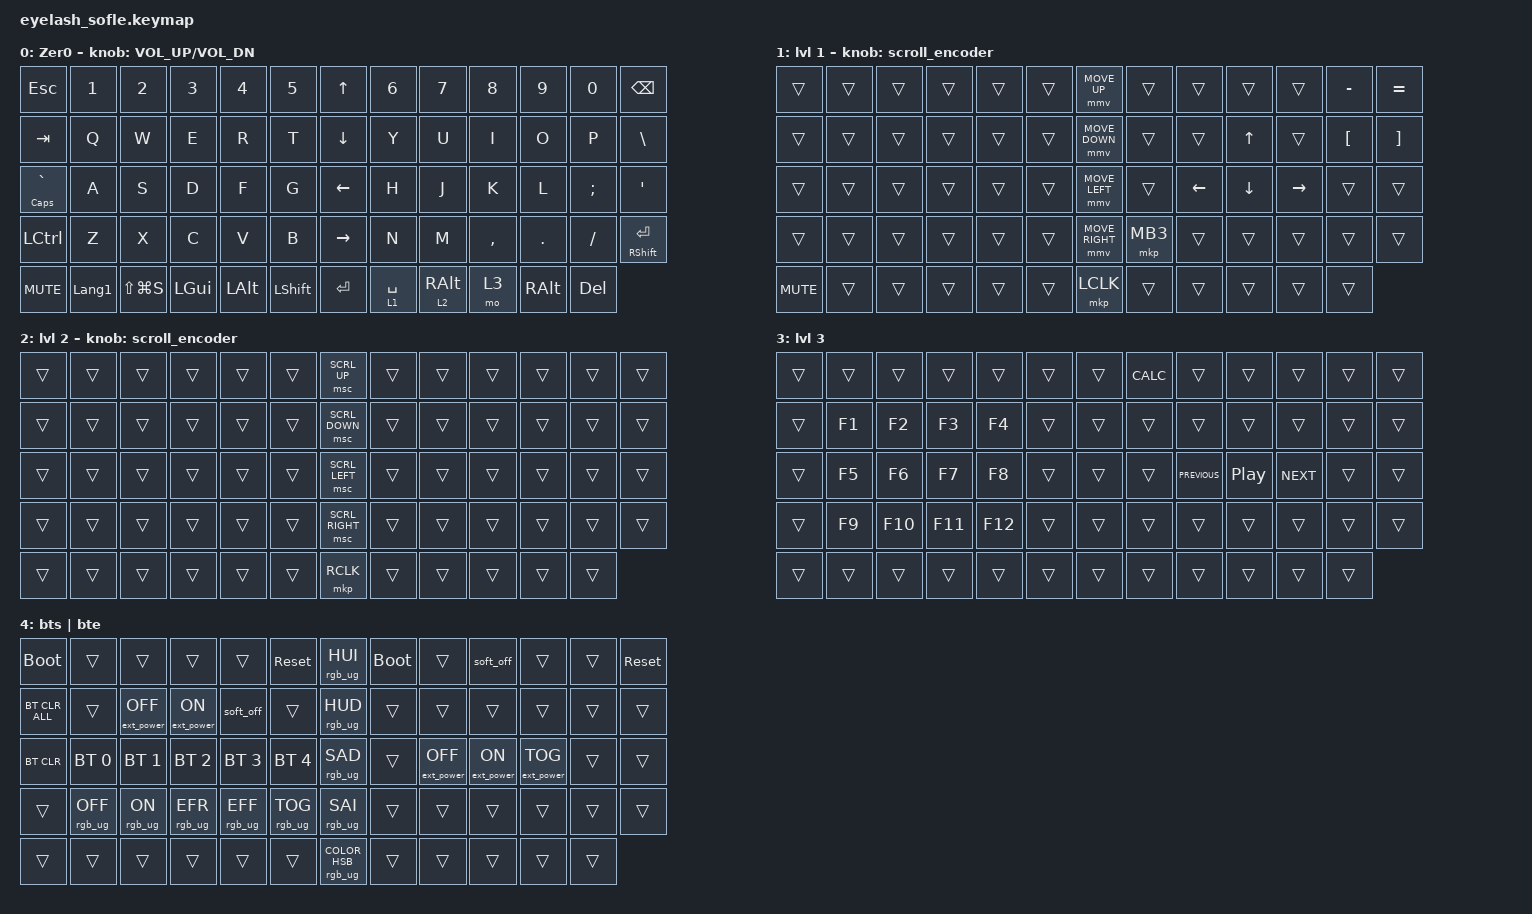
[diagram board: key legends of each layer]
#define ZMK_POINTING_DEFAULT_MOVE_VAL 1200  // 600
#define ZMK_POINTING_DEFAULT_SCRL_VAL 25   // 10

#include <input/processors.dtsi>
#include <zephyr/dt-bindings/input/input-event-codes.h>
#include <behaviors.dtsi>
#include <dt-bindings/zmk/bt.h>
#include <dt-bindings/zmk/ext_power.h>
#include <dt-bindings/zmk/keys.h>
#include <dt-bindings/zmk/pointing.h>
#include <dt-bindings/zmk/rgb.h>

&mmv_input_listener { input-processors = <&zip_xy_scaler 2 1>; };

&msc_input_listener { input-processors = <&zip_scroll_scaler 2 1>; };

&msc {
    acceleration-exponent = <1>;      // 0
    time-to-max-speed-ms = <100>;       // 300
    delay-ms = <0>;                   // 0
};

&mmv {
    time-to-max-speed-ms = <500>;
    acceleration-exponent = <1>;
    trigger-period-ms = <16>;
};

/ {
    scroll_encoder: scroll_encoder {
        compatible = "zmk,behavior-sensor-rotate";
        #sensor-binding-cells = <0>;
        bindings = <&msc SCRL_DOWN>, <&msc SCRL_UP>;

        tap-ms = <100>;
    };

    behaviors {
    };

    combos {
        compatible = "zmk,combos";

        Layer_4_toggle {
            bindings = <&tog 4>;
            key-positions = <53 63>;
        };
    };

    keymap {
        compatible = "zmk,keymap";

        layer0 {
            bindings = <
&kp ESC           &kp N1          &kp N2         &kp N3        &kp N4        &kp N5            &kp UP_ARROW     &kp N6       &kp N7           &kp N8     &kp N9         &kp N0      &kp BACKSPACE
&kp TAB           &kp Q           &kp W          &kp E         &kp R         &kp T             &kp DOWN_ARROW   &kp Y        &kp U            &kp I      &kp O          &kp P       &kp BSLH
&mt CAPS GRAVE    &kp A           &kp S          &kp D         &kp F         &kp G             &kp LEFT_ARROW   &kp H        &kp J            &kp K      &kp L          &kp SEMI    &kp APOS
&kp LEFT_CONTROL  &kp Z           &kp X          &kp C         &kp V         &kp B             &kp RIGHT_ARROW  &kp N        &kp M            &kp COMMA  &kp DOT        &kp FSLH    &mt RIGHT_SHIFT ENTER
&kp C_MUTE        &kp LANGUAGE_1  &kp LS(LG(S))  &kp LEFT_GUI  &kp LEFT_ALT  &kp LEFT_SHIFT    &kp ENTER        &lt 1 SPACE  &lt 2 RIGHT_ALT  &mo 3      &kp RIGHT_ALT  &kp DELETE
            >;

            sensor-bindings = <&inc_dec_kp C_VOLUME_UP C_VOL_DN>;
            display-name = "Zer0";
        };

        layer_1 {
            bindings = <
&trans      &trans  &trans  &trans  &trans  &trans    &mmv MOVE_UP     &trans    &trans    &trans    &trans     &kp MINUS         &kp EQUAL
&trans      &trans  &trans  &trans  &trans  &trans    &mmv MOVE_DOWN   &trans    &trans    &kp UP    &trans     &kp LEFT_BRACKET  &kp RIGHT_BRACKET
&trans      &trans  &trans  &trans  &trans  &trans    &mmv MOVE_LEFT   &trans    &kp LEFT  &kp DOWN  &kp RIGHT  &trans            &trans
&trans      &trans  &trans  &trans  &trans  &trans    &mmv MOVE_RIGHT  &mkp MB3  &trans    &trans    &trans     &trans            &trans
&kp C_MUTE  &trans  &trans  &trans  &trans  &trans    &mkp LCLK        &trans    &trans    &trans    &trans     &trans
            >;

            display-name = "lvl 1";
            sensor-bindings = <&scroll_encoder>;
        };

        layer_2 {
            bindings = <
&trans  &trans  &trans  &trans  &trans  &trans    &msc SCRL_UP     &trans  &trans  &trans  &trans  &trans  &trans
&trans  &trans  &trans  &trans  &trans  &trans    &msc SCRL_DOWN   &trans  &trans  &trans  &trans  &trans  &trans
&trans  &trans  &trans  &trans  &trans  &trans    &msc SCRL_LEFT   &trans  &trans  &trans  &trans  &trans  &trans
&trans  &trans  &trans  &trans  &trans  &trans    &msc SCRL_RIGHT  &trans  &trans  &trans  &trans  &trans  &trans
&trans  &trans  &trans  &trans  &trans  &trans    &mkp RCLK        &trans  &trans  &trans  &trans  &trans
            >;

            sensor-bindings = <&scroll_encoder>;
            label = "lvl 2";
        };

        layer_3 {
            bindings = <
&trans  &trans  &trans   &trans   &trans   &trans    &trans  &kp K_CALC  &trans          &trans            &trans      &trans  &trans
&trans  &kp F1  &kp F2   &kp F3   &kp F4   &trans    &trans  &trans      &trans          &trans            &trans      &trans  &trans
&trans  &kp F5  &kp F6   &kp F7   &kp F8   &trans    &trans  &trans      &kp C_PREVIOUS  &kp C_PLAY_PAUSE  &kp C_NEXT  &trans  &trans
&trans  &kp F9  &kp F10  &kp F11  &kp F12  &trans    &trans  &trans      &trans          &trans            &trans      &trans  &trans
&trans  &trans  &trans   &trans   &trans   &trans    &trans  &trans      &trans          &trans            &trans      &trans
            >;

            label = "lvl 3";
        };

        layer_4 {
            bindings = <
&bootloader     &trans           &trans             &trans            &trans           &sys_reset         &rgb_ug RGB_HUI                   &bootloader  &trans             &soft_off         &trans             &trans  &sys_reset
&bt BT_CLR_ALL  &trans           &ext_power EP_OFF  &ext_power EP_ON  &soft_off        &trans             &rgb_ug RGB_HUD                   &trans       &trans             &trans            &trans             &trans  &trans
&bt BT_CLR      &bt BT_SEL 0     &bt BT_SEL 1       &bt BT_SEL 2      &bt BT_SEL 3     &bt BT_SEL 4       &rgb_ug RGB_SAD                   &trans       &ext_power EP_OFF  &ext_power EP_ON  &ext_power EP_TOG  &trans  &trans
&trans          &rgb_ug RGB_OFF  &rgb_ug RGB_ON     &rgb_ug RGB_EFR   &rgb_ug RGB_EFF  &rgb_ug RGB_TOG    &rgb_ug RGB_SAI                   &trans       &trans             &trans            &trans             &trans  &trans
&trans          &trans           &trans             &trans            &trans           &trans             &rgb_ug RGB_COLOR_HSB(64,100,94)  &trans       &trans             &trans            &trans             &trans
            >;

            label = "bts | bte";
        };
    };
};
